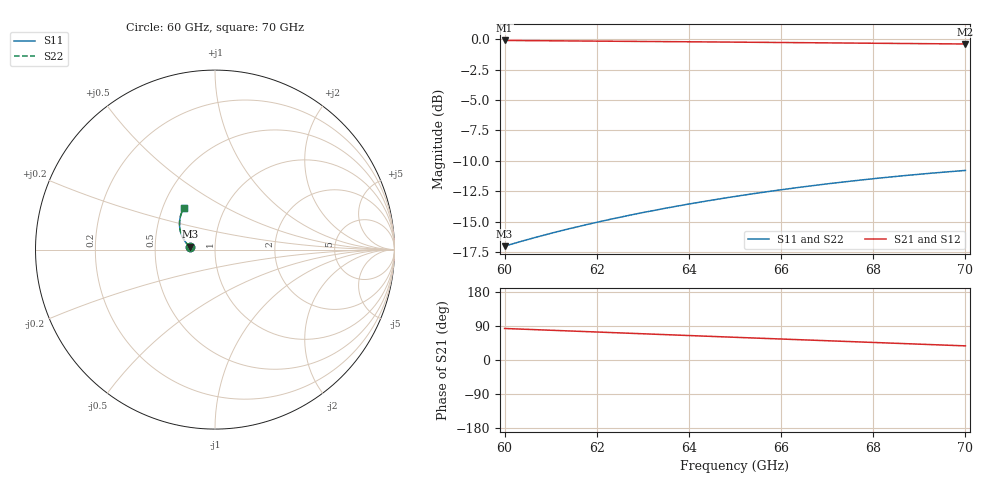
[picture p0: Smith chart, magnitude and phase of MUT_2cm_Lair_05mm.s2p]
! TOUCHSTONE file generated by CST MICROWAVE STUDIO
! Date and time: Sun Mar  3 12:09:22 2024
! Project name: material_angular.cst
! Parameters = {d=8.5; Yi=5; iiii=5; exis2=5; exis=5; X=5; Z=5; Y=2}
! Header version: 2018
! Port assignment regex: !\s*Touchstone port\s*([0-9]+)\s*=\s*(CST MWS port|CST DS port)\s*([0-9]+|Zmin|Zmax)\s*\(\"(.*)\"\)(\s*mode\s*([0-9]+))?.*
! Touchstone port assignment:
! Touchstone port 1 = CST MWS port 1 ("")
! Touchstone port 2 = CST MWS port 2 ("")
# GHz S MA R 376.7
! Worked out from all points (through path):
!   1001 points, 60 GHz to 70 GHz, reference 376.7 ohm
!   highest |S21| = -0.09 dB at 60 GHz (marker M1); lowest = -0.4 dB at 70 GHz (marker M2)
!   group delay of S21, straight-line fit = 12.8 ps
!   lowest |S11| = -17.0 dB at 60 GHz (marker M3), VSWR 1.33, Z = 284 + j9.77 ohm
!   |S11| at or under -10 dB: start of sweep to end of sweep
!   |S22| runs from -17.0 to -10.8 dB; largest |S21 - S12| = 0.00044
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60  0.1407 173.1  0.9901 83.2  0.9898 83.2  0.1407 173.2
60.05  0.1416 172.9  0.9899 82.9  0.9897 82.9  0.1416 173.0
60.43  0.1486 171.1  0.9888 81.1  0.9887 81.1  0.1486 171.2
60.81  0.1555 169.3  0.9877 79.4  0.9877 79.4  0.1554 169.4
61.23  0.163 167.3  0.9865 77.4  0.9865 77.4  0.163 167.5
61.67  0.1707 165.3  0.9852 75.3  0.9853 75.3  0.1707 165.4
62.08  0.1779 163.3  0.984 73.4  0.984 73.4  0.1779 163.5
62.5  0.1851 161.4  0.9827 71.5  0.9827 71.5  0.1851 161.5
62.92  0.1922 159.4  0.9814 69.5  0.9814 69.5  0.1922 159.6
63.34  0.1992 157.5  0.9801 67.6  0.98 67.6  0.1992 157.6
63.75  0.2059 155.6  0.9787 65.7  0.9787 65.7  0.2059 155.7
64.16  0.2124 153.7  0.9774 63.8  0.9773 63.8  0.2125 153.8
64.58  0.219 151.8  0.9759 61.8  0.9759 61.8  0.2191 151.9
65  0.2255 149.9  0.9745 59.9  0.9744 59.9  0.2255 149.9
65.82  0.2377 146.1  0.9715 56.1  0.9715 56.1  0.2377 146.2
66.67  0.2497 142.2  0.9684 52.3  0.9686 52.3  0.2497 142.3
67.51  0.2607 138.4  0.9654 48.5  0.9656 48.4  0.2607 138.5
68.34  0.2709 134.7  0.9625 44.7  0.9628 44.7  0.2709 134.7
68.79  0.2761 132.7  0.9611 42.7  0.9613 42.7  0.2761 132.7
69.24  0.281 130.7  0.9596 40.7  0.9598 40.7  0.281 130.7
69.95  0.2882 127.5  0.9576 37.5  0.9575 37.5  0.2882 127.5
70  0.2886 127.3  0.9575 37.3  0.9573 37.3  0.2887 127.3
